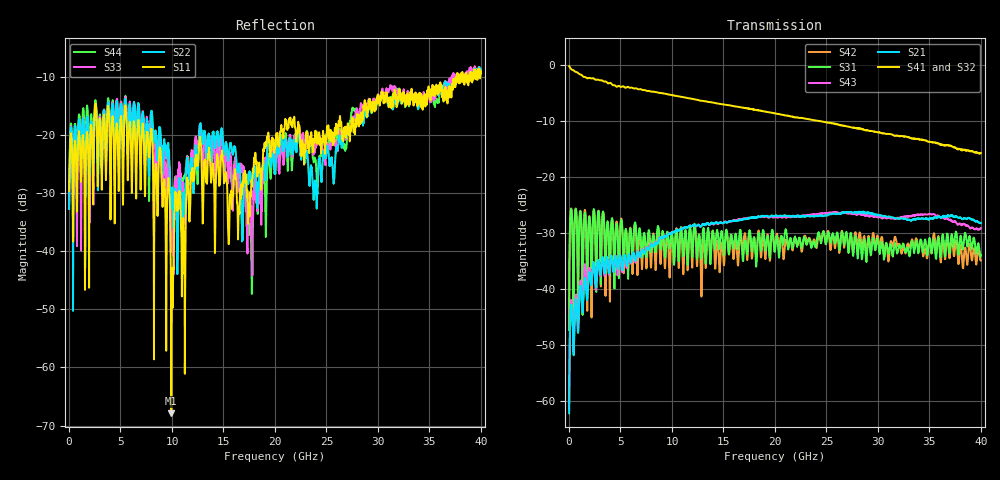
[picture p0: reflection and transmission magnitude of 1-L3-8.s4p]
! MS46524B
! 2118201/M1: 21072234/M2: 20492244
! 10/22/2024 6:44:33 PM
! C:\VNA DATA\LC3-SMK\AD5613\22VAD5613Q\LOT-805\差動\1-L3-8.S4P
! CHANNEL.1
! TR.MEASUREMENT
! CORRECTED.DATA
# GHZ S RI R 50.0
! FREQ.GHZ  S11RE  S11IM  S12RE  S12IM  S13RE  S13IM  S14RE  S14IM
!  S21RE  S21IM  S22RE  S22IM  S23RE  S23IM  S24RE  S24IM
!  S31RE  S31IM  S32RE  S32IM  S33RE  S33IM  S34RE  S34IM
!  S41RE  S41IM  S42RE  S42IM  S43RE  S43IM  S44RE  S44IM
!; PortSelection: Port_1234
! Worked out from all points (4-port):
!   4000 points, 10 MHz to 40 GHz, reference 50 ohm
!   strongest paths, dB at 10 MHz, 10.01 GHz, 20.01 GHz, 30.01 GHz, 40 GHz:
!     S41: -0.3, -5.5, -8.7, -12.1, -15.8
!     S32: -0.2, -5.4, -8.7, -12.1, -16.1
!     S21: -62.1, -30.0, -26.9, -26.9, -28.2
!     S43: -61.4, -29.9, -27.1, -27.3, -29.1
!     S31: -47.3, -30.1, -33.1, -31.5, -33.9
!     S42: -47.2, -30.5, -32.9, -30.8, -34.9
!   lowest |S11| = -67.9 dB at 9.93 GHz (marker M1), VSWR 1.00, Z = 50 - j0.0328 ohm
!   |S11| at or under -10 dB: start of sweep to 37.57 GHz; 37.59122 GHz to 37.67133 GHz (80.11 MHz wide, 0.213 % of centre); 38.72563 GHz to 38.82032 GHz (94.69 MHz wide, 0.244 % of centre)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
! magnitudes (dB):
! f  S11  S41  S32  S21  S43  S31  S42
! 10 MHz  -29.6  -0.3  -0.2  -62.1  -61.4  -47.3  -47.2
! 7.94 GHz  -19.3  -4.8  -4.8  -32.1  -31.9  -32.9  -36.0
! 9.93 GHz  -67.9  -5.4  -5.4  -30.1  -30.0  -30.2  -31.0
! 12.67 GHz  -21.0  -6.4  -6.4  -28.7  -28.7  -30.5  -30.6
! 17.63 GHz  -30.0  -7.9  -7.9  -27.3  -27.3  -30.5  -31.0
! 20.49 GHz  -19.7  -8.9  -8.8  -26.9  -27.1  -32.6  -31.5
! 40 GHz  -9.3  -15.8  -16.1  -28.2  -29.1  -33.9  -34.9
